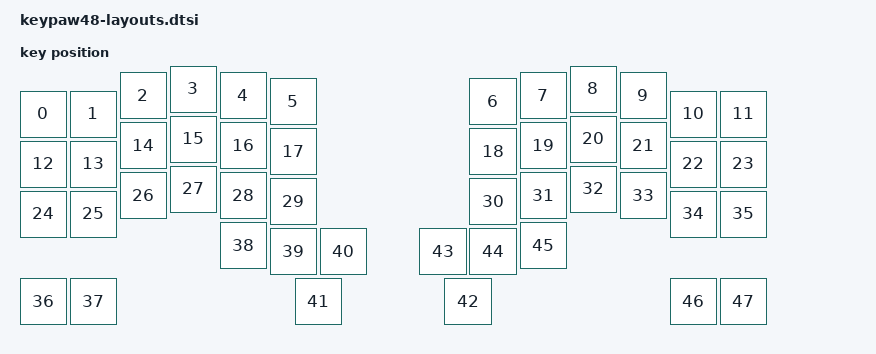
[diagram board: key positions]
// See https://zmk.dev/docs/development/hardware-integration/physical-layouts
// for how to configure this.

#include <physical_layouts.dtsi>

/ {
    default_layout: default_layout {
        compatible = "zmk,physical-layout";
        display-name = "Default Layout";
        transform = <&default_transform>;
        kscan = <&kscan>;

        keys  //                     w   h    x    y     rot    rx    ry
            = <&key_physical_attrs 100 100    0   50       0     0     0>
            , <&key_physical_attrs 100 100  100   50       0     0     0>
            , <&key_physical_attrs 100 100  200   13       0     0     0>
            , <&key_physical_attrs 100 100  300    0       0     0     0>
            , <&key_physical_attrs 100 100  400   13       0     0     0>
            , <&key_physical_attrs 100 100  500   25       0     0     0>
            , <&key_physical_attrs 100 100  900   25       0     0     0>
            , <&key_physical_attrs 100 100 1000   13       0     0     0>
            , <&key_physical_attrs 100 100 1100    0       0     0     0>
            , <&key_physical_attrs 100 100 1200   13       0     0     0>
            , <&key_physical_attrs 100 100 1300   50       0     0     0>
            , <&key_physical_attrs 100 100 1400   50       0     0     0>
            , <&key_physical_attrs 100 100    0  150       0     0     0>
            , <&key_physical_attrs 100 100  100  150       0     0     0>
            , <&key_physical_attrs 100 100  200  113       0     0     0>
            , <&key_physical_attrs 100 100  300  100       0     0     0>
            , <&key_physical_attrs 100 100  400  113       0     0     0>
            , <&key_physical_attrs 100 100  500  125       0     0     0>
            , <&key_physical_attrs 100 100  900  125       0     0     0>
            , <&key_physical_attrs 100 100 1000  113       0     0     0>
            , <&key_physical_attrs 100 100 1100  100       0     0     0>
            , <&key_physical_attrs 100 100 1200  113       0     0     0>
            , <&key_physical_attrs 100 100 1300  150       0     0     0>
            , <&key_physical_attrs 100 100 1400  150       0     0     0>
            , <&key_physical_attrs 100 100    0  250       0     0     0>
            , <&key_physical_attrs 100 100  100  250       0     0     0>
            , <&key_physical_attrs 100 100  200  213       0     0     0>
            , <&key_physical_attrs 100 100  300  200       0     0     0>
            , <&key_physical_attrs 100 100  400  213       0     0     0>
            , <&key_physical_attrs 100 100  500  225       0     0     0>
            , <&key_physical_attrs 100 100  900  225       0     0     0>
            , <&key_physical_attrs 100 100 1000  213       0     0     0>
            , <&key_physical_attrs 100 100 1100  200       0     0     0>
            , <&key_physical_attrs 100 100 1200  213       0     0     0>
            , <&key_physical_attrs 100 100 1300  250       0     0     0>
            , <&key_physical_attrs 100 100 1400  250       0     0     0>
            , <&key_physical_attrs 100 100    0  425       0     0     0>
            , <&key_physical_attrs 100 100  100  425       0     0     0>
            , <&key_physical_attrs 100 100  400  313       0     0     0>
            , <&key_physical_attrs 100 100  500  325       0     0     0>
            , <&key_physical_attrs 100 100  600  325       0     0     0>
            , <&key_physical_attrs 100 100  550  425       0     0     0>
            , <&key_physical_attrs 100 100  850  425       0     0     0>
            , <&key_physical_attrs 100 100  800  325       0     0     0>
            , <&key_physical_attrs 100 100  900  325       0     0     0>
            , <&key_physical_attrs 100 100 1000  313       0     0     0>
            , <&key_physical_attrs 100 100 1300  425       0     0     0>
            , <&key_physical_attrs 100 100 1400  425       0     0     0>
            ;
    };
};
